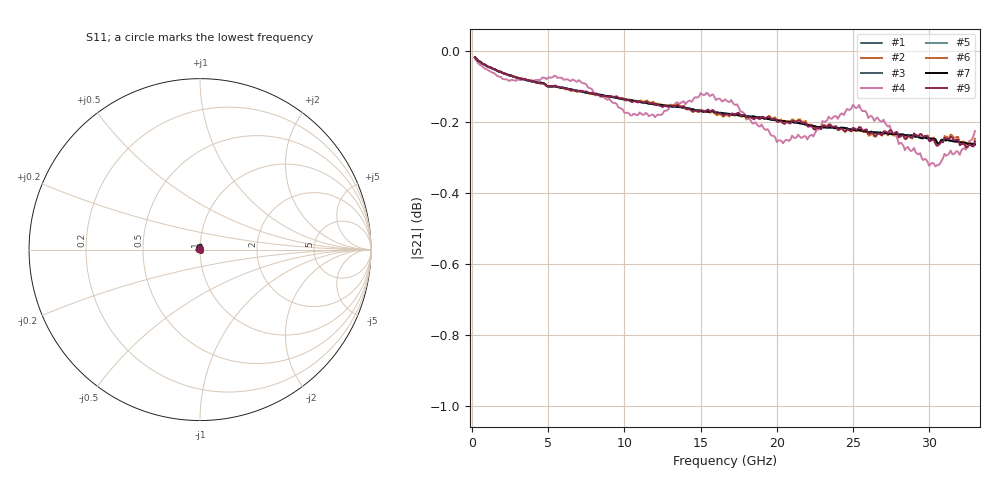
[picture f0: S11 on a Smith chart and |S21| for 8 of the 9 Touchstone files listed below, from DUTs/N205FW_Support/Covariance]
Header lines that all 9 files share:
# GHZ S RI R 50
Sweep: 200 MHz to 33 GHz
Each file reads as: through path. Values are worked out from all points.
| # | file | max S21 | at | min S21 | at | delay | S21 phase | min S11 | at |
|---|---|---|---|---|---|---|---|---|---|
| 1 | N205FW_0.s2p | -0.02 dB | 200 MHz | -0.3 dB | 32.9 GHz | 248 ps | -42 deg at 16.6 GHz | -73.7 dB | 18.5 GHz |
| 2 | N205FW_1.s2p | -0.02 dB | 200 MHz | -0.3 dB | 32.9 GHz | 248 ps | -42 deg at 16.6 GHz | -79.2 dB | 3.2 GHz |
| 3 | N205FW_2.s2p | -0.02 dB | 200 MHz | -0.3 dB | 30.6 GHz | 248 ps | -42 deg at 16.6 GHz | -77.7 dB | 18.5 GHz |
| 4 | N205FW_3.s2p | -0.02 dB | 200 MHz | -0.3 dB | 30.4 GHz | 248 ps | -42 deg at 16.6 GHz | -69.9 dB | 3.2 GHz |
| 5 | N205FW_6.s2p | -0.02 dB | 200 MHz | -0.3 dB | 32.9 GHz | 248 ps | -42 deg at 16.6 GHz | -73.8 dB | 18.5 GHz |
| 6 | N205FW_9.s2p | -0.02 dB | 200 MHz | -0.3 dB | 32.5 GHz | 248 ps | -42 deg at 16.6 GHz | -72.2 dB | 3.2 GHz |
| 7 | N205FW_10.s2p | -0.02 dB | 200 MHz | -0.3 dB | 32.9 GHz | 248 ps | -42 deg at 16.6 GHz | -80.4 dB | 13.4 GHz |
| 8 | N205FW_13.s2p | -0.02 dB | 200 MHz | -0.3 dB | 30.6 GHz | 248 ps | -42 deg at 16.6 GHz | -77.4 dB | 18.6 GHz |
| 9 | N205FW_14.s2p | -0.02 dB | 200 MHz | -0.3 dB | 32.5 GHz | 248 ps | -42 deg at 16.6 GHz | -71.7 dB | 3.2 GHz |
